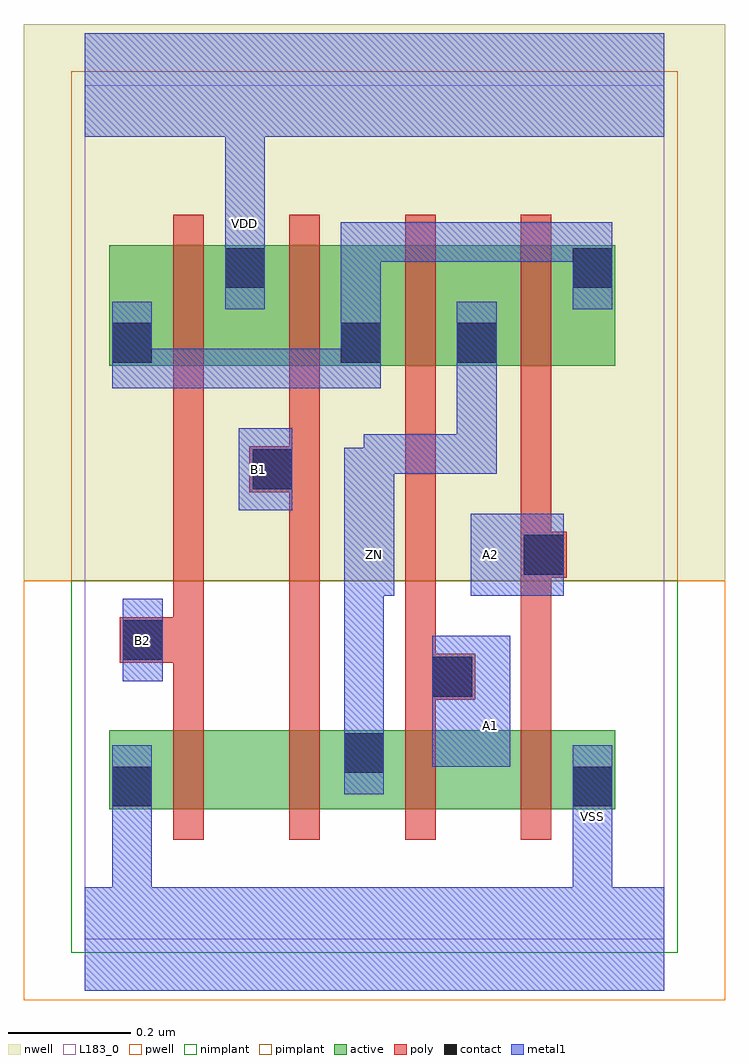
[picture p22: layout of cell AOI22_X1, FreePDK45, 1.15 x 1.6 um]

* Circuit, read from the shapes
.subckt AOI22_X1 A1 A2 B1 B2 VDD VSS ZN
M1 n1 B2 VSS VSUBS nfet w=0.13u l=0.05u
M2 ZN B1 n1 VSUBS nfet w=0.13u l=0.05u
M3 n2 A1 ZN VSUBS nfet w=0.13u l=0.05u
M4 VSS A2 n2 VSUBS nfet w=0.13u l=0.05u
M5 VDD B2 n3 n4 pfet w=0.1975u l=0.05u
M6 n3 B1 VDD n4 pfet w=0.1975u l=0.05u
M7 ZN A1 n3 n4 pfet w=0.1975u l=0.05u
M8 n3 A2 ZN n4 pfet w=0.1975u l=0.05u
.ends

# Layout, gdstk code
import gdstk
lib = gdstk.Library(unit=1e-6, precision=1e-10)
def R(c, l, rs):  # rectangles x0, y0, x1, y1
    for r in rs: c.add(gdstk.rectangle(r[:2], r[2:], *l))
def P(c, l, *ps):  # polygons
    for p in ps: c.add(gdstk.Polygon(p, *l))
active = (1, 0)
pwell = (2, 0)
nwell = (3, 0)
nimplant = (4, 0)
pimplant = (5, 0)
poly = (9, 0)
contact = (10, 0)
metal1 = (11, 0)
L183_0 = (183, 0)

aoi22_x1 = lib.new_cell('AOI22_X1')
P(aoi22_x1, active, [(0.04,0.2125),(0.145,0.2125),(0.195,0.2125),(0.335,0.2125),(0.385,0.2125),(0.525,0.2125),(0.575,0.2125),(0.715,0.2125),(0.765,0.2125),(0.87,0.2125),(0.87,0.3425),(0.765,0.3425),(0.715,0.3425),(0.575,0.3425),(0.525,0.3425),(0.385,0.3425),(0.335,0.3425),(0.195,0.3425),(0.145,0.3425),(0.04,0.3425)],
  [(0.04,0.94),(0.145,0.94),(0.195,0.94),(0.335,0.94),(0.385,0.94),(0.525,0.94),(0.575,0.94),(0.715,0.94),(0.765,0.94),(0.87,0.94),(0.87,1.1375),(0.765,1.1375),(0.715,1.1375),(0.575,1.1375),(0.525,1.1375),(0.385,1.1375),(0.335,1.1375),(0.195,1.1375),(0.145,1.1375),(0.04,1.1375)])
P(aoi22_x1, pwell, [(-0.1,-0.1),(1.05,-0.1),(1.05,0.5875),(0.85,0.5875),(0.1,0.5875),(-0.1,0.5875)])
P(aoi22_x1, nwell, [(-0.1,0.5875),(0.1,0.5875),(0.85,0.5875),(1.05,0.5875),(1.05,1.5),(-0.1,1.5)])
R(aoi22_x1, nimplant, [(-0.0225,-0.0225,0.9725,0.5875)])
R(aoi22_x1, pimplant, [(-0.0225,0.5875,0.9725,1.4225)])
P(aoi22_x1, poly, [(0.0575,0.4525),(0.145,0.4525),(0.145,0.3425),(0.145,0.2125),(0.145,0.1625),(0.195,0.1625),(0.195,0.2125),(0.195,0.3425),(0.195,0.94),(0.195,1.1375),(0.195,1.1875),(0.145,1.1875),(0.145,1.1375),(0.145,0.94),(0.145,0.5275),(0.0575,0.5275)],
  [(0.27,0.7325),(0.335,0.7325),(0.335,0.3425),(0.335,0.2125),(0.335,0.1625),(0.385,0.1625),(0.385,0.2125),(0.385,0.3425),(0.385,0.94),(0.385,1.1375),(0.385,1.1875),(0.335,1.1875),(0.335,1.1375),(0.335,0.94),(0.335,0.8075),(0.27,0.8075)],
  [(0.525,0.1625),(0.575,0.1625),(0.575,0.2125),(0.575,0.3425),(0.575,0.3925),(0.64,0.3925),(0.64,0.4675),(0.575,0.4675),(0.575,0.94),(0.575,1.1375),(0.575,1.1875),(0.525,1.1875),(0.525,1.1375),(0.525,0.94),(0.525,0.3425),(0.525,0.2125)],
  [(0.715,0.1625),(0.765,0.1625),(0.765,0.2125),(0.765,0.3425),(0.765,0.5925),(0.79,0.5925),(0.79,0.6675),(0.765,0.6675),(0.765,0.94),(0.765,1.1375),(0.765,1.1875),(0.715,1.1875),(0.715,1.1375),(0.715,0.94),(0.715,0.3425),(0.715,0.2125)])
R(aoi22_x1, contact, [(0.045,0.2175,0.11,0.2825), (0.8,0.2175,0.865,0.2825), (0.425,0.2725,0.49,0.3375), (0.57,0.3975,0.635,0.4625), (0.0625,0.4575,0.1275,0.5225), (0.72,0.5975,0.785,0.6625), (0.275,0.7375,0.34,0.8025), (0.045,0.945,0.11,1.01), (0.42,0.945,0.485,1.01), (0.61,0.945,0.675,1.01), (0.23,1.0675,0.295,1.1325), (0.8,1.0675,0.865,1.1325)])
R(aoi22_x1, metal1, [(0.57,0.2825,0.6975,0.4975), (0.0625,0.4225,0.1275,0.5575), (0.6325,0.5625,0.785,0.6975), (0.2525,0.7025,0.34,0.8375)])
P(aoi22_x1, metal1, [(0.425,0.2375),(0.49,0.2375),(0.49,0.5625),(0.5075,0.5625),(0.5075,0.7625),(0.675,0.7625),(0.675,1.045),(0.61,1.045),(0.61,0.8275),(0.4575,0.8275),(0.4575,0.805),(0.425,0.805)],
  [(0.045,0.9025),(0.485,0.9025),(0.485,1.11),(0.8,1.11),(0.8,1.0325),(0.865,1.0325),(0.865,1.175),(0.42,1.175),(0.42,0.9675),(0.11,0.9675),(0.11,1.045),(0.045,1.045)],
  [(0,-0.085),(0.95,-0.085),(0.95,0.085),(0.865,0.085),(0.865,0.3175),(0.8,0.3175),(0.8,0.085),(0.11,0.085),(0.11,0.3175),(0.045,0.3175),(0.045,0.085),(0,0.085)],
  [(0,1.315),(0.23,1.315),(0.23,1.0325),(0.295,1.0325),(0.295,1.315),(0.95,1.315),(0.95,1.485),(0,1.485)])
R(aoi22_x1, L183_0, [(0,0,0.95,1.4)])
aoi22_x1.add(gdstk.Label('A1', (0.665,0.35), layer=11, texttype=0))
aoi22_x1.add(gdstk.Label('A2', (0.665,0.63), layer=11, texttype=0))
aoi22_x1.add(gdstk.Label('B1', (0.285,0.77), layer=11, texttype=0))
aoi22_x1.add(gdstk.Label('B2', (0.095,0.49), layer=11, texttype=0))
aoi22_x1.add(gdstk.Label('VDD', (0.2625,1.1737), layer=11, texttype=0))
aoi22_x1.add(gdstk.Label('VSS', (0.8325,0.2012), layer=11, texttype=0))
aoi22_x1.add(gdstk.Label('ZN', (0.475,0.63), layer=11, texttype=0))

lib.write_gds('AOI22_X1.gds')
